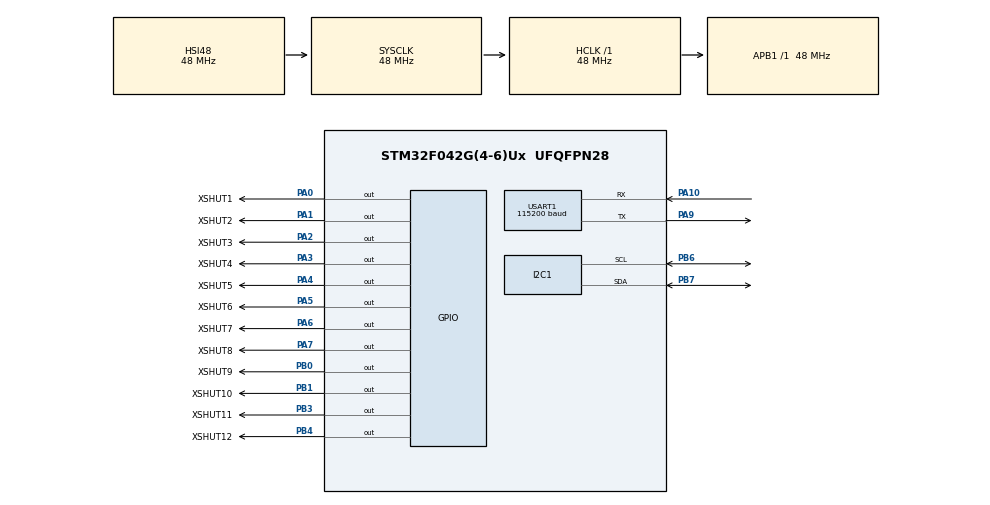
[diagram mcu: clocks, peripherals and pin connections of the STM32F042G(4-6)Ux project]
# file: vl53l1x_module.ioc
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Dma.Request0=USART1_RX
Dma.Request1=USART1_TX
Dma.USART1_RX.0.Direction=DMA_PERIPH_TO_MEMORY
Dma.USART1_RX.0.Instance=DMA1_Channel3
Dma.USART1_RX.0.MemDataAlignment=DMA_MDATAALIGN_BYTE
Dma.USART1_RX.0.MemInc=DMA_MINC_ENABLE
Dma.USART1_RX.0.Mode=DMA_NORMAL
Dma.USART1_RX.0.PeriphDataAlignment=DMA_PDATAALIGN_BYTE
Dma.USART1_RX.0.PeriphInc=DMA_PINC_DISABLE
Dma.USART1_RX.0.Priority=DMA_PRIORITY_LOW
Dma.USART1_TX.1.Direction=DMA_MEMORY_TO_PERIPH
Dma.USART1_TX.1.Instance=DMA1_Channel2
Dma.USART1_TX.1.MemDataAlignment=DMA_MDATAALIGN_BYTE
Dma.USART1_TX.1.MemInc=DMA_MINC_ENABLE
Dma.USART1_TX.1.Mode=DMA_CIRCULAR
Dma.USART1_TX.1.PeriphDataAlignment=DMA_PDATAALIGN_BYTE
Dma.USART1_TX.1.PeriphInc=DMA_PINC_DISABLE
Dma.USART1_TX.1.Priority=DMA_PRIORITY_LOW
I2C1.Timing=0x20303E5D
Mcu.Family=STM32F0
Mcu.Name=STM32F042G(4-6)Ux
Mcu.Package=UFQFPN28
NVIC.DMA1_Channel2_3_IRQn=true\:0\:0\:false\:false\:true\:false
NVIC.TIM14_IRQn=true\:0\:0\:false\:false\:true\:false
NVIC.TimeBase=TIM14_IRQn
NVIC.TimeBaseIP=TIM14
NVIC.USART1_IRQn=true\:0\:0\:false\:false\:true\:true
PA0.GPIO_Label=XSHUT1
PA0.Signal=GPIO_Output
PA1.GPIO_Label=XSHUT2
PA1.Signal=GPIO_Output
PA10.Mode=Asynchronous
PA10.Signal=USART1_RX
PA13.Mode=Serial_Wire
PA13.Signal=SYS_SWDIO
PA14.Mode=Serial_Wire
PA14.Signal=SYS_SWCLK
PA2.GPIO_Label=XSHUT3
PA2.Signal=GPIO_Output
PA3.GPIO_Label=XSHUT4
PA3.Signal=GPIO_Output
PA4.GPIO_Label=XSHUT5
PA4.Signal=GPIO_Output
PA5.GPIO_Label=XSHUT6
PA5.Signal=GPIO_Output
PA6.GPIO_Label=XSHUT7
PA6.Signal=GPIO_Output
PA7.GPIO_Label=XSHUT8
PA7.Signal=GPIO_Output
PA9.Mode=Asynchronous
PA9.Signal=USART1_TX
PB0.GPIO_Label=XSHUT9
PB0.Signal=GPIO_Output
PB1.GPIO_Label=XSHUT10
PB1.Signal=GPIO_Output
PB3.GPIO_Label=XSHUT11
PB3.Signal=GPIO_Output
PB4.GPIO_Label=XSHUT12
PB4.Signal=GPIO_Output
PB6.Mode=I2C
PB6.Signal=I2C1_SCL
PB7.Mode=I2C
PB7.Signal=I2C1_SDA
PF0-OSC_IN.Mode=HSE-External-Oscillator
PF0-OSC_IN.Signal=RCC_OSC_IN
PF1-OSC_OUT.Mode=HSE-External-Oscillator
PF1-OSC_OUT.Signal=RCC_OSC_OUT
ProjectManager.HeapSize=0x200
ProjectManager.StackSize=0x400
ProjectManager.TargetToolchain=Makefile
RCC.AHBFreq_Value=48000000
RCC.APB1Freq_Value=48000000
RCC.APB1TimFreq_Value=48000000
RCC.HCLKFreq_Value=48000000
RCC.HSE_VALUE=24000000
RCC.I2c1ClockSelection=RCC_I2C1CLKSOURCE_SYSCLK
RCC.PLLSourceVirtual=RCC_PLLSOURCE_HSI48
RCC.SYSCLKFreq_VALUE=48000000
RCC.SYSCLKSource=RCC_SYSCLKSOURCE_HSI48
USART1.BaudRate=115200
USART1.VirtualMode-Asynchronous=VM_ASYNC
VP_SYS_VS_tim14.Mode=TIM14
board=custom

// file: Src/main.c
/**
  ******************************************************************************
  * @file           : main.c
  * @brief          : Main program body
  ******************************************************************************
  ** This notice applies to any and all portions of this file
  * that are not between comment pairs USER CODE BEGIN and
  * USER CODE END. Other portions of this file, whether
  * inserted by the user or by software development tools
  * are owned by their respective copyright owners.
  *
  * COPYRIGHT(c) 2018 STMicroelectronics
  *
  * Redistribution and use in source and binary forms, with or without modification,
  * are permitted provided that the following conditions are met:
  *   1. Redistributions of source code must retain the above copyright notice,
  *      this list of conditions and the following disclaimer.
  *   2. Redistributions in binary form must reproduce the above copyright notice,
  *      this list of conditions and the following disclaimer in the documentation
  *      and/or other materials provided with the distribution.
  *   3. Neither the name of STMicroelectronics nor the names of its contributors
  *      may be used to endorse or promote products derived from this software
  *      without specific prior written permission.
  *
  * THIS SOFTWARE IS PROVIDED BY THE COPYRIGHT HOLDERS AND CONTRIBUTORS "AS IS"
  * AND ANY EXPRESS OR IMPLIED WARRANTIES, INCLUDING, BUT NOT LIMITED TO, THE
  * IMPLIED WARRANTIES OF MERCHANTABILITY AND FITNESS FOR A PARTICULAR PURPOSE ARE
  * DISCLAIMED. IN NO EVENT SHALL THE COPYRIGHT HOLDER OR CONTRIBUTORS BE LIABLE
  * FOR ANY DIRECT, INDIRECT, INCIDENTAL, SPECIAL, EXEMPLARY, OR CONSEQUENTIAL
  * DAMAGES (INCLUDING, BUT NOT LIMITED TO, PROCUREMENT OF SUBSTITUTE GOODS OR
  * SERVICES; LOSS OF USE, DATA, OR PROFITS; OR BUSINESS INTERRUPTION) HOWEVER
  * CAUSED AND ON ANY THEORY OF LIABILITY, WHETHER IN CONTRACT, STRICT LIABILITY,
  * OR TORT (INCLUDING NEGLIGENCE OR OTHERWISE) ARISING IN ANY WAY OUT OF THE USE
  * OF THIS SOFTWARE, EVEN IF ADVISED OF THE POSSIBILITY OF SUCH DAMAGE.
  *
  ******************************************************************************
  */
#include "main.h"
#include "stm32f0xx_hal.h"

/* USER CODE BEGIN Includes */
#include "debug.h"
#include "vl53l1_api.h"
#include "state.h"
#include "uart.h"
/* USER CODE END Includes */

I2C_HandleTypeDef hi2c1;

UART_HandleTypeDef huart1;

/* USER CODE BEGIN PV */
#define SENSOR_NBR     4
/* Private variables ---------------------------------------------------------*/
VL53L1_Dev_t  vl53l1_dev[SENSOR_NBR];
VL53L1_DEV    dev;
uint16_t XSHUTx[12] = { XSHUT1_Pin, XSHUT2_Pin, XSHUT3_Pin, XSHUT4_Pin,
                        XSHUT5_Pin, XSHUT6_Pin, XSHUT7_Pin, XSHUT8_Pin,
                        XSHUT9_Pin, XSHUT10_Pin, XSHUT11_Pin, XSHUT12_Pin, };

static void idle_callback(state_t *obj);
static void stop_callback(state_t *obj);
static void start_callback(state_t *obj);
static void measuring_callback(state_t *obj);
static void config_callback(state_t *obj);

static state_t state_obj = {
    .curr_state = STATE_NONE,
    .op = {
        .idle_func     = idle_callback,
        .stop_func     = stop_callback,
        .start_func    = start_callback,
        .measure_func  = measuring_callback,
        .config_func   = config_callback,
    },
};

uart_t uart_obj;
CBUFFER_DEF_STATIC(uart_rxbuf, 80);
/* USER CODE END PV */

void SystemClock_Config(void);
static void MX_GPIO_Init(void);
static void MX_I2C1_Init(void);
static void MX_USART1_UART_Init(void);

/* USER CODE BEGIN PFP */
/* Private function prototypes -----------------------------------------------*/
void AutonomousLowPowerRangingTest(VL53L1_DEV);

/* USER CODE END PFP */

/* USER CODE BEGIN 0 */
static void idle_callback(state_t *obj)
{
    char cmd[8] = { 0 };
    DBG_LOG("read cmd from UART\r\n");

    if (uart_receive(&uart_obj, cmd, 1, HAL_MAX_DELAY) == -1) {
        DBG_LOG("%s error\r\n", __func__);
        return;
    }

    if (cmd[0] == 's')
        state_transit(obj, EVENT_START);
}

static void stop_callback(state_t *obj)
{
    VL53L1_Error status;

    for (int i = 0; i < SENSOR_NBR; i++) {
        dev = &vl53l1_dev[i];
        status = VL53L1_StopMeasurement(dev);
        if (status) {
            DBG_LOG("VL53L1_StopMeasurement failed (%d)\n", status);
            while(1);
        }
    }
}

static void start_callback(state_t *obj)
{
    VL53L1_Error status;
    uint8_t newI2C = 0x52;

    for (int i = 0; i < SENSOR_NBR; i++) {

        GPIO_TypeDef* gpio = (i >= 0 && i <= 7) ? GPIOA : GPIOB;

        HAL_GPIO_WritePin(gpio, XSHUTx[i], GPIO_PIN_SET);
        HAL_Delay(2);

        dev = &vl53l1_dev[i];
        dev->I2cHandle = &hi2c1;
        dev->I2cDevAddr = 0x52;/* sensor_addrs[i]; */
        /* VL53L1_RdByte(dev, 0x010F, &byteData); */
        /* DBG_LOG("VL53L1X Model_ID: %02X\n", byteData); */
        newI2C = dev->I2cDevAddr + (i + 1) * 2;
        status = VL53L1_SetDeviceAddress(dev, newI2C);
        dev->I2cDevAddr = newI2C;
        /* DBG_LOG("VL53L1X Model_ID: %02X\n", byteData); */

        status = VL53L1_WaitDeviceBooted(dev);
        if (status){
            DBG_LOG("VL53L1_WaitDeviceBooted failed (%d)\n", status);
            while(1);
        }
        status = VL53L1_DataInit(dev);
        if (status){
            DBG_LOG("VL53L1_DataInit failed (%d)\n", status);
            while(1);
        }
        status = VL53L1_StaticInit(dev);
        if (status){
            DBG_LOG("VL53L1_StaticInit failed (%d)\n", status);
            while(1);
        }
        status = VL53L1_SetDistanceMode(dev, VL53L1_DISTANCEMODE_LONG);
        if (status){
            DBG_LOG("VL53L1_SetDistanceMode failed (%d)\n", status);
            while(1);
        }
        status = VL53L1_SetMeasurementTimingBudgetMicroSeconds(dev, 50000);
        if (status){
            DBG_LOG("VL53L1_SetMeasurementTimingBudgetMicroSeconds failed (%d)\n", status);
            while(1);
        }
        status = VL53L1_SetInterMeasurementPeriodMilliSeconds(dev, 100);
        if (status){
            DBG_LOG("VL53L1_SetInterMeasurementPeriodMilliSeconds failed (%d)\n", status);
            while(1);
        }
    }

    for (int i = 0; i < SENSOR_NBR; i++) {
        dev = &vl53l1_dev[i];
        status = VL53L1_StartMeasurement(dev);
        if (status){
            DBG_LOG("VL53L1_StartMeasurement failed (%d)\n", status);
            while(1);
        }
    }
}

static void measuring_callback(state_t *obj)
{
    VL53L1_Error status;
    VL53L1_RangingMeasurementData_t RangingData;
    char measure_str[32] = { 0 };

    char cmd[8] = { 0 };

    if (uart_receive(&uart_obj, cmd, 1, 10) == -1) {
        goto start_measuring;
    }
    else {
        if (cmd[0] == 's') {
            state_transit(obj, EVENT_STOP);
        }
        return;
    }

start_measuring:
    for (int i = 0; i < SENSOR_NBR; i++) { // polling mode
        dev = &vl53l1_dev[i];

        status = VL53L1_WaitMeasurementDataReady(dev);
        if (!status) {
            status = VL53L1_GetRangingMeasurementData(dev, &RangingData);
            if (status == VL53L1_ERROR_NONE) {
                sprintf(measure_str, "%d: %d,%d,%.2f,%.2f\r\n", i, RangingData.RangeStatus,RangingData.RangeMilliMeter,
                        (RangingData.SignalRateRtnMegaCps/65536.0),RangingData.AmbientRateRtnMegaCps/65336.0);
                uart_send(&uart_obj, measure_str, strlen(measure_str) + 2);
                DBG_LOG("%d: %d,%d,%.2f,%.2f\n", i, RangingData.RangeStatus,RangingData.RangeMilliMeter,
                        (RangingData.SignalRateRtnMegaCps/65536.0),RangingData.AmbientRateRtnMegaCps/65336.0);
            }
            status = VL53L1_ClearInterruptAndStartMeasurement(dev);
        }
    }
}

static void config_callback(state_t *obj)
{
}

/* USER CODE END 0 */

int main(void)
{
  /* USER CODE BEGIN 1 */
  uint8_t byteData;
  uint16_t wordData;

  /* USER CODE END 1 */

  /* MCU Configuration----------------------------------------------------------*/

  /* Reset of all peripherals, Initializes the Flash interface and the Systick. */
  HAL_Init();

  /* Configure the system clock */
  SystemClock_Config();

  /* Initialize all configured peripherals */
  MX_GPIO_Init();
  MX_I2C1_Init();
  MX_USART1_UART_Init();

  /* USER CODE BEGIN 2 */
  uart_init(&uart_obj, &huart1, &uart_rxbuf);
  state_init(&state_obj, NULL);

  /* USER CODE END 2 */

  /* Infinite loop */
  while (1)
  {

  /* USER CODE BEGIN 3 */
      state_loop(&state_obj);
  }
  /* USER CODE END 3 */

}

void SystemClock_Config(void)
{

  RCC_OscInitTypeDef RCC_OscInitStruct;
  RCC_ClkInitTypeDef RCC_ClkInitStruct;
  RCC_PeriphCLKInitTypeDef PeriphClkInit;

    /**Initializes the CPU, AHB and APB busses clocks
    */
  RCC_OscInitStruct.OscillatorType = RCC_OSCILLATORTYPE_HSI48;
  RCC_OscInitStruct.HSI48State = RCC_HSI48_ON;
  RCC_OscInitStruct.PLL.PLLState = RCC_PLL_NONE;
  if (HAL_RCC_OscConfig(&RCC_OscInitStruct) != HAL_OK)
  {
    _Error_Handler(__FILE__, __LINE__);
  }

    /**Initializes the CPU, AHB and APB busses clocks
    */
  RCC_ClkInitStruct.ClockType = RCC_CLOCKTYPE_HCLK|RCC_CLOCKTYPE_SYSCLK
                              |RCC_CLOCKTYPE_PCLK1;
  RCC_ClkInitStruct.SYSCLKSource = RCC_SYSCLKSOURCE_HSI48;
  RCC_ClkInitStruct.AHBCLKDivider = RCC_SYSCLK_DIV1;
  RCC_ClkInitStruct.APB1CLKDivider = RCC_HCLK_DIV1;

  if (HAL_RCC_ClockConfig(&RCC_ClkInitStruct, FLASH_LATENCY_1) != HAL_OK)
  {
    _Error_Handler(__FILE__, __LINE__);
  }

  PeriphClkInit.PeriphClockSelection = RCC_PERIPHCLK_USART1|RCC_PERIPHCLK_I2C1;
  PeriphClkInit.Usart1ClockSelection = RCC_USART1CLKSOURCE_PCLK1;
  PeriphClkInit.I2c1ClockSelection = RCC_I2C1CLKSOURCE_SYSCLK;
  if (HAL_RCCEx_PeriphCLKConfig(&PeriphClkInit) != HAL_OK)
  {
    _Error_Handler(__FILE__, __LINE__);
  }

    /**Configure the Systick interrupt time
    */
  HAL_SYSTICK_Config(HAL_RCC_GetHCLKFreq()/1000);

    /**Configure the Systick
    */
  HAL_SYSTICK_CLKSourceConfig(SYSTICK_CLKSOURCE_HCLK);

  /* SysTick_IRQn interrupt configuration */
  HAL_NVIC_SetPriority(SysTick_IRQn, 0, 0);
}

/* I2C1 init function */
static void MX_I2C1_Init(void)
{

  hi2c1.Instance = I2C1;
  hi2c1.Init.Timing = 0x20303E5D;
  hi2c1.Init.OwnAddress1 = 0;
  hi2c1.Init.AddressingMode = I2C_ADDRESSINGMODE_7BIT;
  hi2c1.Init.DualAddressMode = I2C_DUALADDRESS_DISABLE;
  hi2c1.Init.OwnAddress2 = 0;
  hi2c1.Init.OwnAddress2Masks = I2C_OA2_NOMASK;
  hi2c1.Init.GeneralCallMode = I2C_GENERALCALL_DISABLE;
  hi2c1.Init.NoStretchMode = I2C_NOSTRETCH_DISABLE;
  if (HAL_I2C_Init(&hi2c1) != HAL_OK)
  {
    _Error_Handler(__FILE__, __LINE__);
  }

    /**Configure Analogue filter
    */
  if (HAL_I2CEx_ConfigAnalogFilter(&hi2c1, I2C_ANALOGFILTER_ENABLE) != HAL_OK)
  {
    _Error_Handler(__FILE__, __LINE__);
  }

    /**Configure Digital filter
    */
  if (HAL_I2CEx_ConfigDigitalFilter(&hi2c1, 0) != HAL_OK)
  {
    _Error_Handler(__FILE__, __LINE__);
  }

}

/* USART1 init function */
static void MX_USART1_UART_Init(void)
{

  huart1.Instance = USART1;
  huart1.Init.BaudRate = 115200;
  huart1.Init.WordLength = UART_WORDLENGTH_8B;
  huart1.Init.StopBits = UART_STOPBITS_1;
  huart1.Init.Parity = UART_PARITY_NONE;
  huart1.Init.Mode = UART_MODE_TX_RX;
  huart1.Init.HwFlowCtl = UART_HWCONTROL_NONE;
  huart1.Init.OverSampling = UART_OVERSAMPLING_16;
  huart1.Init.OneBitSampling = UART_ONE_BIT_SAMPLE_DISABLE;
  huart1.AdvancedInit.AdvFeatureInit = UART_ADVFEATURE_NO_INIT;
  if (HAL_UART_Init(&huart1) != HAL_OK)
  {
    _Error_Handler(__FILE__, __LINE__);
  }

}

/** Configure pins as
        * Analog
        * Input
        * Output
        * EVENT_OUT
        * EXTI
*/
static void MX_GPIO_Init(void)
{

  GPIO_InitTypeDef GPIO_InitStruct;

  /* GPIO Ports Clock Enable */
  __HAL_RCC_GPIOF_CLK_ENABLE();
  __HAL_RCC_GPIOA_CLK_ENABLE();
  __HAL_RCC_GPIOB_CLK_ENABLE();

  /*Configure GPIO pin Output Level */
  HAL_GPIO_WritePin(GPIOA, XSHUT1_Pin|XSHUT2_Pin|XSHUT3_Pin|XSHUT4_Pin
                          |XSHUT5_Pin|XSHUT6_Pin|XSHUT7_Pin|XSHUT8_Pin, GPIO_PIN_RESET);

  /*Configure GPIO pin Output Level */
  HAL_GPIO_WritePin(GPIOB, XSHUT9_Pin|XSHUT10_Pin|XSHUT11_Pin|XSHUT12_Pin, GPIO_PIN_RESET);

  /*Configure GPIO pins : XSHUT1_Pin XSHUT2_Pin XSHUT3_Pin XSHUT4_Pin
                           XSHUT5_Pin XSHUT6_Pin XSHUT7_Pin XSHUT8_Pin */
  GPIO_InitStruct.Pin = XSHUT1_Pin|XSHUT2_Pin|XSHUT3_Pin|XSHUT4_Pin
                          |XSHUT5_Pin|XSHUT6_Pin|XSHUT7_Pin|XSHUT8_Pin;
  GPIO_InitStruct.Mode = GPIO_MODE_OUTPUT_PP;
  GPIO_InitStruct.Pull = GPIO_NOPULL;
  GPIO_InitStruct.Speed = GPIO_SPEED_FREQ_LOW;
  HAL_GPIO_Init(GPIOA, &GPIO_InitStruct);

  /*Configure GPIO pins : XSHUT9_Pin XSHUT10_Pin XSHUT11_Pin XSHUT12_Pin */
  GPIO_InitStruct.Pin = XSHUT9_Pin|XSHUT10_Pin|XSHUT11_Pin|XSHUT12_Pin;
  GPIO_InitStruct.Mode = GPIO_MODE_OUTPUT_PP;
  GPIO_InitStruct.Pull = GPIO_NOPULL;
  GPIO_InitStruct.Speed = GPIO_SPEED_FREQ_LOW;
  HAL_GPIO_Init(GPIOB, &GPIO_InitStruct);

}

void HAL_TIM_PeriodElapsedCallback(TIM_HandleTypeDef *htim)
{
  if (htim->Instance == TIM14) {
    HAL_IncTick();
  }
}

void _Error_Handler(char *file, int line)
{
  while(1)
  {
  }
}

/************************ (C) COPYRIGHT STMicroelectronics *****END OF FILE****/
